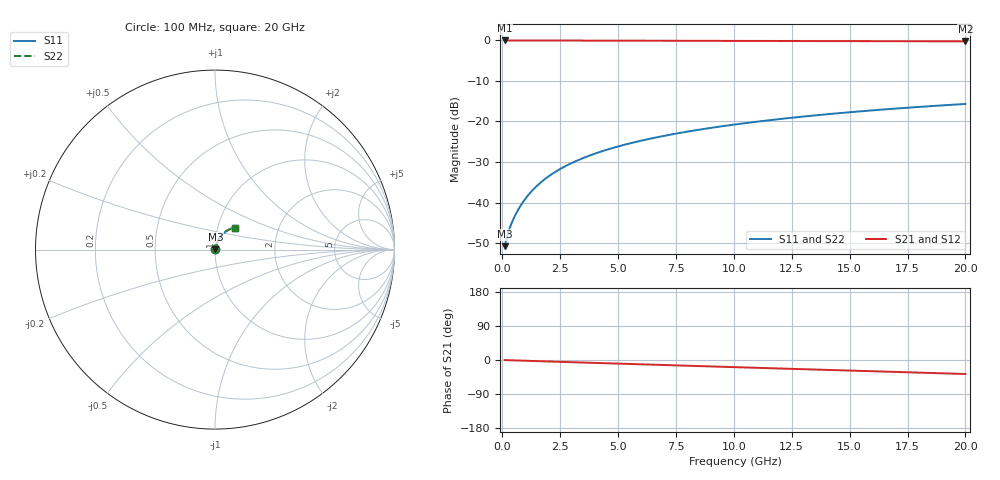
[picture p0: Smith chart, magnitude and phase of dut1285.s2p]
! Touchstone file exported from HFSS 2026.1.0
!  File:  C:/ffzhzh/LocalFiles/Ansys_Project_Files/temp_train_BSMRDL_1285_1783177921_22436.aedt
!  Generated:  11:13:16 PM Jul  4, 2026
!  Design:  BSMRDL
!  Project:  temp_train_BSMRDL_1285_1783177921_22436
! Variables:
!  h_bsmrdl = 5.05um
!  h_ox = 20um
!  h_rdl = 5um
!  h_sub = 80um
!  h_tmrdl = 5um
!  h_tsv = 80um
!  h_via = 3um
!  l_bsmrdl = 637.9um
!  l_sub = 1037.9um
!  l_tmrdl = 200um
!  m_sub = 200um
!  pitch = 28.57um
!  r_tsv = 6um
!  s_tmrdl = 10um
!  w_bsmrdl = 18.92um
!  w_sub = 500um
!  w_tmrdl = 12um
!  x_tsv_center1 = 206um
!  x_tsv_center2 = 862.82um
!  x_tsv_center3 = 1074.82um
!  x_tsv_center4 = 1731.64um
!  x_tsv_center5 = 1943.64um
!  x_tsv_center6 = 2600.46um
# GHz S MA R 50.000000
! Terminal data exported
! Port[1] = BSM_RDL1_1_T1
! Port[2] = BSM_RDL1_1_T2
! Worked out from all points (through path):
!   200 points, 100 MHz to 20 GHz, reference 50 ohm
!   highest |S21| = -0.02 dB at 100 MHz (marker M1); lowest = -0.2 dB at 20 GHz (marker M2)
!   group delay of S21, straight-line fit = 5.11 ps
!   lowest |S11| = -50.8 dB at 100 MHz (marker M3), VSWR 1.01, Z = 50.3 + j0.136 ohm
!   |S11| at or under -10 dB: start of sweep to end of sweep
!   |S22| runs from -50.8 to -15.7 dB; largest |S21 - S12| = 2.7e-15
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0.1  0.002897 27.7  0.9974 -0.2  0.9974 -0.2  0.002897 27.7
! Gamma 0 0 0 0
! Port Impedance 50 0 50 0
0.2  0.003773 41.8  0.9972 -0.4  0.9972 -0.4  0.003773 41.8
0.3  0.004667 49.5  0.997 -0.6  0.997 -0.6  0.004667 49.5
0.4  0.00555 54.9  0.9969 -0.8  0.9969 -0.8  0.00555 54.9
0.5  0.006444 58.9  0.9968 -1.0  0.9968 -1.0  0.006444 58.9
0.6  0.007358 62.1  0.9967 -1.2  0.9967 -1.2  0.007358 62.1
0.8  0.00924 66.6  0.9965 -1.6  0.9965 -1.6  0.00924 66.6
1  0.01117 69.5  0.9964 -2.0  0.9964 -2.0  0.01117 69.5
1.2  0.01314 71.4  0.9963 -2.3  0.9963 -2.3  0.01314 71.4
1.4  0.01511 72.7  0.9961 -2.7  0.9961 -2.7  0.01511 72.7
1.7  0.01808 73.8  0.9958 -3.3  0.9958 -3.3  0.01808 73.8
2.2  0.02301 74.6  0.9953 -4.3  0.9953 -4.3  0.02301 74.6
2.8  0.02882 74.6  0.9946 -5.4  0.9946 -5.4  0.02882 74.6
3.5  0.03546 74.1  0.9937 -6.8  0.9937 -6.8  0.03546 74.1
4.2  0.04193 73.2  0.9928 -8.1  0.9928 -8.1  0.04193 73.2
5  0.04915 72.2  0.9917 -9.6  0.9917 -9.6  0.04915 72.2
6.8  0.06485 69.5  0.9894 -12.9  0.9894 -12.9  0.06485 69.5
8.3  0.07748 67.2  0.9874 -15.7  0.9874 -15.7  0.07748 67.2
10.1  0.0922 64.4  0.9851 -19.0  0.9851 -19.0  0.09219 64.4
13.4  0.118 59.1  0.9808 -25.0  0.9808 -25.0  0.118 59.1
16.7  0.1422 53.7  0.9764 -31.0  0.9764 -31.0  0.1422 53.7
20  0.1645 48.2  0.9719 -36.9  0.9719 -36.9  0.1644 48.2
